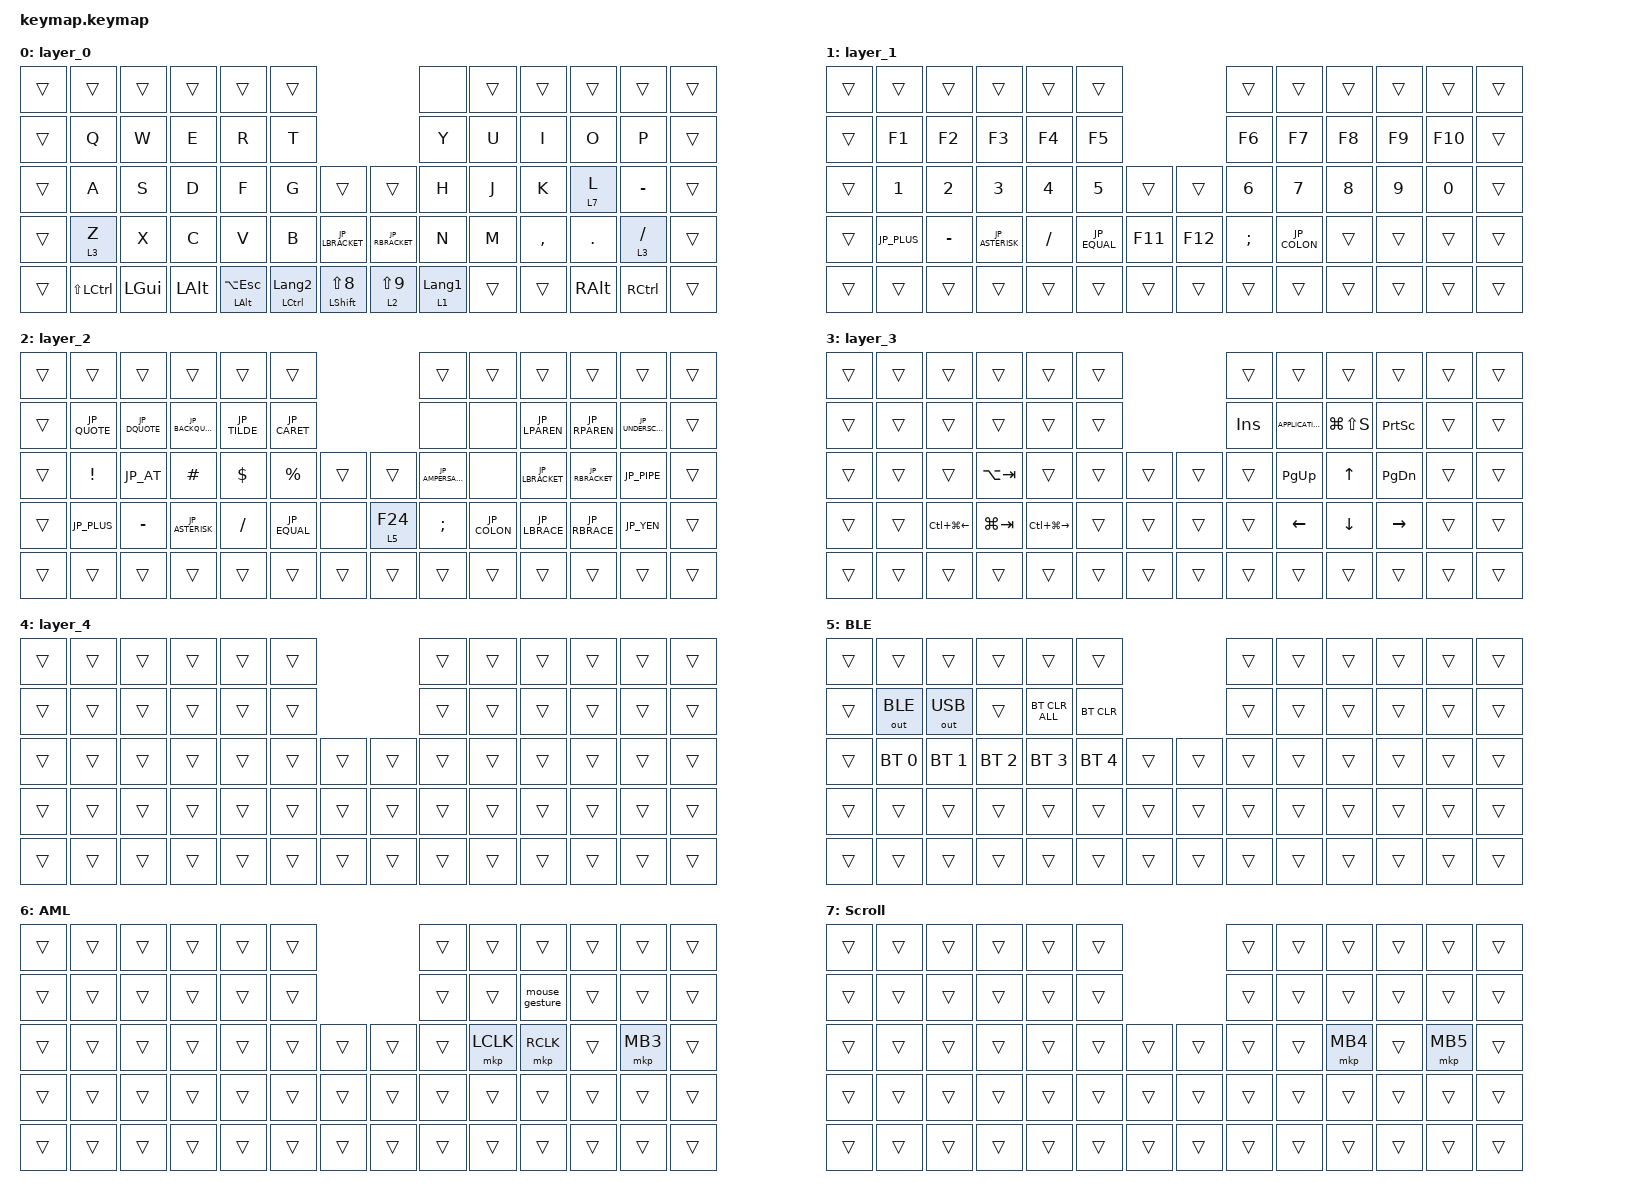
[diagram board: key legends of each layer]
#include <mouse-gesture.dtsi>
#include <behaviors.dtsi>
#include <dt-bindings/zmk/bt.h>
#include <dt-bindings/zmk/keys.h>
#include <dt-bindings/zmk/outputs.h>
#include <dt-bindings/zmk/pointing.h>

/ {
    combos {
        compatible = "zmk,combos";

        C_ESC {
            bindings = <&kp ESCAPE>;
            key-positions = <1 2>;
            timeout-ms = <50>;
        };

        C_DOUBLE_QUOTES {
            bindings = <&kp LS(NUMBER_2)>;
            key-positions = <2 3>;
            timeout-ms = <50>;
        };

        C_AT {
            bindings = <&kp JP_AT>;
            key-positions = <6 7>;
            timeout-ms = <50>;
        };

        C_UNDERSCORE {
            bindings = <&kp JP_UNDERSCORE>;
            key-positions = <7 8>;
            timeout-ms = <50>;
        };

        C_TAB {
            bindings = <&kp TAB>;
            key-positions = <11 12>;
            timeout-ms = <50>;
        };

        C_CAPSLOCK {
            bindings = <&kp CAPSLOCK>;
            key-positions = <12 13>;
            timeout-ms = <50>;
        };

        C_SPACE {
            bindings = <&kp SPACE>;
            key-positions = <11 13>;
            timeout-ms = <50>;
        };

        C_BACKSPACE {
            bindings = <&kp BACKSPACE>;
            key-positions = <16 17>;
            timeout-ms = <50>;
        };

        C_DELETE {
            bindings = <&kp DELETE>;
            key-positions = <17 18>;
            timeout-ms = <50>;
        };

        C_ENTER {
            bindings = <&kp ENTER>;
            key-positions = <16 18>;
            timeout-ms = <50>;
        };

        C_CTL_Z {
            bindings = <&kp LC(Z)>;
            key-positions = <21 22>;
            timeout-ms = <50>;
        };

        C_CTL_Y {
            bindings = <&kp LC(Y)>;
            key-positions = <22 23>;
            timeout-ms = <50>;
        };

        C_HOME {
            bindings = <&kp HOME>;
            key-positions = <28 29>;
            timeout-ms = <50>;
        };

        C_END {
            bindings = <&kp END >;
            key-positions = <29 30>;
            timeout-ms = <50>;
        };

        C_Double_BRACKET {
            bindings = <&Double_BRACKET>;
            key-positions = <25 26>;
            timeout-ms = <50>;
        };

        C_Double_PAREN {
            bindings = <&Double_PAREN>;
            key-positions = <37 38>;
            timeout-ms = <50>;
        };

        C_Double_BRACE {
            bindings = <&Double_BRACE>;
            key-positions = <24 27>;
            timeout-ms = <50>;
        };

        C_Double_DOUBLE_QUOTES {
            bindings = <&Double_DOUBLE_QUOTES>;
            key-positions = <2 3 6 7>;
            timeout-ms = <50>;
        };
    };

    macros {
        Double_BRACKET: Double_BRACKET {
            compatible = "zmk,behavior-macro";
            #binding-cells = <0>;
            bindings = <&kp JP_LBRACKET &kp JP_RBRACKET &kp LEFT_ARROW>;
        };

        Double_PAREN: Double_PAREN {
            compatible = "zmk,behavior-macro";
            #binding-cells = <0>;
            bindings = <&kp JP_LPAREN &kp JP_RPAREN &kp LEFT_ARROW>;
        };

        Double_BRACE: Double_BRACE {
            compatible = "zmk,behavior-macro";
            #binding-cells = <0>;
            bindings = <&kp JP_LBRACE &kp JP_RBRACE &kp LEFT_ARROW>;
        };

        Double_DOUBLE_QUOTES: Double_DOUBLE_QUOTES {
            compatible = "zmk,behavior-macro";
            #binding-cells = <0>;
            bindings = <&kp LS(NUMBER_2) &kp LS(NUMBER_2) &kp LEFT_ARROW>;
        };
    };

    keymap {
        compatible = "zmk,keymap";

        layer_0 {
            bindings = <
&trans  &trans         &trans    &trans    &trans                   &trans                                                        &none             &trans  &trans     &trans         &trans             &trans
&trans  &kp Q          &kp W     &kp E     &kp R                    &kp T                                                         &kp Y             &kp U   &kp I      &kp O          &kp P              &trans
&trans  &kp A          &kp S     &kp D     &kp F                    &kp G                 &trans                 &trans           &kp H             &kp J   &kp K      &lt 7 L        &kp MINUS          &trans
&trans  &lt 3 Z        &kp X     &kp C     &kp V                    &kp B                 &kp JP_LBRACKET        &kp JP_RBRACKET  &kp N             &kp M   &kp COMMA  &kp DOT        &lt 3 SLASH        &trans
&trans  &kp LS(LCTRL)  &kp LGUI  &kp LALT  &mt LEFT_ALT LA(ESCAPE)  &mt LCTRL LANGUAGE_2  &mt LEFT_SHIFT LS(N8)  &lt 2 LS(N9)     &lt 1 LANGUAGE_1  &trans  &trans     &kp RIGHT_ALT  &kp RIGHT_CONTROL  &trans
            >;
        };

        layer_1 {
            bindings = <
&trans  &trans       &trans     &trans           &trans     &trans                          &trans         &trans        &trans  &trans  &trans        &trans
&trans  &kp F1       &kp F2     &kp F3           &kp F4     &kp F5                          &kp F6         &kp F7        &kp F8  &kp F9  &kp F10       &trans
&trans  &kp N1       &kp N2     &kp N3           &kp N4     &kp N5        &trans   &trans   &kp N6         &kp N7        &kp N8  &kp N9  &kp NUMBER_0  &trans
&trans  &kp JP_PLUS  &kp MINUS  &kp JP_ASTERISK  &kp SLASH  &kp JP_EQUAL  &kp F11  &kp F12  &kp SEMICOLON  &kp JP_COLON  &trans  &trans  &trans        &trans
&trans  &trans       &trans     &trans           &trans     &trans        &trans   &trans   &trans         &trans        &trans  &trans  &trans        &trans
            >;
        };

        layer_2 {
            bindings = <
&trans  &trans           &trans         &trans            &trans        &trans                           &trans            &trans        &trans           &trans           &trans             &trans
&trans  &kp JP_QUOTE     &kp JP_DQUOTE  &kp JP_BACKQUOTE  &kp JP_TILDE  &kp JP_CARET                     &none             &none         &kp JP_LPAREN    &kp JP_RPAREN    &kp JP_UNDERSCORE  &trans
&trans  &kp EXCLAMATION  &kp JP_AT      &kp HASH          &kp DOLLAR    &kp PERCENT   &trans  &trans     &kp JP_AMPERSAND  &none         &kp JP_LBRACKET  &kp JP_RBRACKET  &kp JP_PIPE        &trans
&trans  &kp JP_PLUS      &kp MINUS      &kp JP_ASTERISK   &kp SLASH     &kp JP_EQUAL  &none   &lt 5 F24  &kp SEMICOLON     &kp JP_COLON  &kp JP_LBRACE    &kp JP_RBRACE    &kp JP_YEN         &trans
&trans  &trans           &trans         &trans            &trans        &trans        &trans  &trans     &trans            &trans        &trans           &trans           &trans             &trans
            >;
        };

        layer_3 {
            bindings = <
&trans  &trans  &trans                  &trans       &trans                   &trans                  &trans   &trans             &trans          &trans           &trans  &trans
&trans  &trans  &trans                  &trans       &trans                   &trans                  &kp INS  &kp K_APPLICATION  &kp LG(LS(S))   &kp PRINTSCREEN  &trans  &trans
&trans  &trans  &trans                  &kp LA(TAB)  &trans                   &trans  &trans  &trans  &trans   &kp PAGE_UP        &kp UP_ARROW    &kp PAGE_DOWN    &trans  &trans
&trans  &trans  &kp LC(LG(LEFT_ARROW))  &kp LG(TAB)  &kp LC(LG(RIGHT_ARROW))  &trans  &trans  &trans  &trans   &kp LEFT_ARROW     &kp DOWN_ARROW  &kp RIGHT_ARROW  &trans  &trans
&trans  &trans  &trans                  &trans       &trans                   &trans  &trans  &trans  &trans   &trans             &trans          &trans           &trans  &trans
            >;
        };

        layer_4 {
            bindings = <
&trans  &trans  &trans  &trans  &trans  &trans                  &trans  &trans  &trans  &trans  &trans  &trans
&trans  &trans  &trans  &trans  &trans  &trans                  &trans  &trans  &trans  &trans  &trans  &trans
&trans  &trans  &trans  &trans  &trans  &trans  &trans  &trans  &trans  &trans  &trans  &trans  &trans  &trans
&trans  &trans  &trans  &trans  &trans  &trans  &trans  &trans  &trans  &trans  &trans  &trans  &trans  &trans
&trans  &trans  &trans  &trans  &trans  &trans  &trans  &trans  &trans  &trans  &trans  &trans  &trans  &trans
            >;
        };

        BLE {
            bindings = <
&trans  &trans        &trans        &trans        &trans          &trans                        &trans  &trans  &trans  &trans  &trans  &trans
&trans  &out OUT_BLE  &out OUT_USB  &trans        &bt BT_CLR_ALL  &bt BT_CLR                    &trans  &trans  &trans  &trans  &trans  &trans
&trans  &bt BT_SEL 0  &bt BT_SEL 1  &bt BT_SEL 2  &bt BT_SEL 3    &bt BT_SEL 4  &trans  &trans  &trans  &trans  &trans  &trans  &trans  &trans
&trans  &trans        &trans        &trans        &trans          &trans        &trans  &trans  &trans  &trans  &trans  &trans  &trans  &trans
&trans  &trans        &trans        &trans        &trans          &trans        &trans  &trans  &trans  &trans  &trans  &trans  &trans  &trans
            >;
        };

        AML {
            bindings = <
&trans  &trans  &trans  &trans  &trans  &trans                  &trans  &trans     &trans          &trans  &trans    &trans
&trans  &trans  &trans  &trans  &trans  &trans                  &trans  &trans     &mouse_gesture  &trans  &trans    &trans
&trans  &trans  &trans  &trans  &trans  &trans  &trans  &trans  &trans  &mkp LCLK  &mkp RCLK       &trans  &mkp MB3  &trans
&trans  &trans  &trans  &trans  &trans  &trans  &trans  &trans  &trans  &trans     &trans          &trans  &trans    &trans
&trans  &trans  &trans  &trans  &trans  &trans  &trans  &trans  &trans  &trans     &trans          &trans  &trans    &trans
            >;
        };

        Scroll {
            bindings = <
&trans  &trans  &trans  &trans  &trans  &trans                  &trans  &trans  &trans    &trans  &trans    &trans
&trans  &trans  &trans  &trans  &trans  &trans                  &trans  &trans  &trans    &trans  &trans    &trans
&trans  &trans  &trans  &trans  &trans  &trans  &trans  &trans  &trans  &trans  &mkp MB4  &trans  &mkp MB5  &trans
&trans  &trans  &trans  &trans  &trans  &trans  &trans  &trans  &trans  &trans  &trans    &trans  &trans    &trans
&trans  &trans  &trans  &trans  &trans  &trans  &trans  &trans  &trans  &trans  &trans    &trans  &trans    &trans
            >;
        };
    };
};
